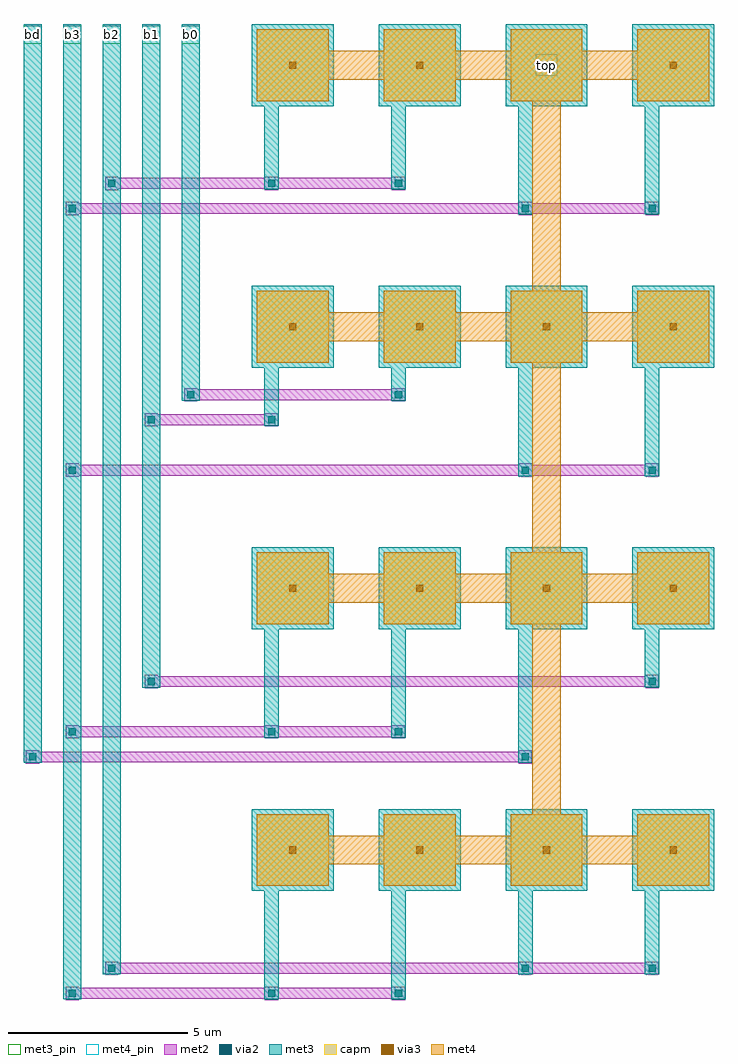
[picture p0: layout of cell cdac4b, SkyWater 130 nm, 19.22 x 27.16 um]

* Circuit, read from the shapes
.subckt cdac4b b0 b1 b2 b3 bd top
XC1 top b3 sky130_fd_pr__cap_mim_m3_1 w=2 l=2 m=8
XC2 top b1 sky130_fd_pr__cap_mim_m3_1 w=2 l=2 m=2
XC3 top b2 sky130_fd_pr__cap_mim_m3_1 w=2 l=2 m=4
XC4 top b0 sky130_fd_pr__cap_mim_m3_1 w=2 l=2
XC5 top bd sky130_fd_pr__cap_mim_m3_1 w=2 l=2
.ends

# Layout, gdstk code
import gdstk
lib = gdstk.Library(unit=1e-6, precision=5e-09)
def R(c, l, rs):  # rectangles x0, y0, x1, y1
    for r in rs: c.add(gdstk.rectangle(r[:2], r[2:], *l))
met2 = (69, 20)
via2 = (69, 44)
met3_pin = (70, 16)
met3 = (70, 20)
via3 = (70, 44)
met4_pin = (71, 16)
met4 = (71, 20)
capm = (89, 44)

unnamed_08364eda = lib.new_cell('Unnamed_08364eda')
R(unnamed_08364eda, met3, [(-1.14,-1.14,1.14,1.14)])
R(unnamed_08364eda, via3, [(-0.1,-0.1,0.1,0.1)])
R(unnamed_08364eda, met4, [(-1,-1,1,1), (-0.17,-0.17,0.17,0.17)])
R(unnamed_08364eda, capm, [(-1,-1,1,1)])

compass_b19a7299 = lib.new_cell('compass_b19a7299')
R(compass_b19a7299, met4, [(-5.695,-0.4,5.695,0.4)])

rectangle_b19a7299 = lib.new_cell('rectangle_b19a7299')
rectangle_b19a7299.add(gdstk.Reference(compass_b19a7299, (5.695,0.4)))

compass_b19a7299_1 = lib.new_cell('compass_b19a7299$1')
R(compass_b19a7299_1, met4, [(-5.695,-0.4,5.695,0.4)])

rectangle_b19a7299_1 = lib.new_cell('rectangle_b19a7299$1')
rectangle_b19a7299_1.add(gdstk.Reference(compass_b19a7299_1, (5.695,0.4)))

compass_b19a7299_2 = lib.new_cell('compass_b19a7299$2')
R(compass_b19a7299_2, met4, [(-5.695,-0.4,5.695,0.4)])

rectangle_b19a7299_2 = lib.new_cell('rectangle_b19a7299$2')
rectangle_b19a7299_2.add(gdstk.Reference(compass_b19a7299_2, (5.695,0.4)))

compass_b19a7299_3 = lib.new_cell('compass_b19a7299$3')
R(compass_b19a7299_3, met4, [(-5.695,-0.4,5.695,0.4)])

rectangle_b19a7299_3 = lib.new_cell('rectangle_b19a7299$3')
rectangle_b19a7299_3.add(gdstk.Reference(compass_b19a7299_3, (5.695,0.4)))

compass_d8e93c01 = lib.new_cell('compass_d8e93c01')
R(compass_d8e93c01, met4, [(-0.4,-10.92,0.4,10.92)])

rectangle_d8e93c01 = lib.new_cell('rectangle_d8e93c01')
rectangle_d8e93c01.add(gdstk.Reference(compass_d8e93c01, (0.4,10.92)))

compass_10b1ff6f = lib.new_cell('compass_10b1ff6f')
R(compass_10b1ff6f, met3, [(-0.2,-1.31,0.2,1.31)])

rectangle_10b1ff6f = lib.new_cell('rectangle_10b1ff6f')
rectangle_10b1ff6f.add(gdstk.Reference(compass_10b1ff6f, (0.2,1.31)))

compass_579e3138 = lib.new_cell('compass_579e3138')
R(compass_579e3138, met2, [(-0.185,-0.185,0.185,0.185)])

rectangle_579e3138 = lib.new_cell('rectangle_579e3138')
rectangle_579e3138.add(gdstk.Reference(compass_579e3138, (0.185,0.185)))

compass_9c38dde3 = lib.new_cell('compass_9c38dde3')
R(compass_9c38dde3, via2, [(-0.1,-0.1,0.1,0.1)])

rectangle_9c38dde3 = lib.new_cell('rectangle_9c38dde3')
rectangle_9c38dde3.add(gdstk.Reference(compass_9c38dde3, (0.1,0.1)))

compass_fef19139 = lib.new_cell('compass_fef19139')
R(compass_fef19139, met3, [(-0.165,-0.165,0.165,0.165)])

rectangle_fef19139 = lib.new_cell('rectangle_fef19139')
rectangle_fef19139.add(gdstk.Reference(compass_fef19139, (0.165,0.165)))

compass_10b1ff6f_1 = lib.new_cell('compass_10b1ff6f$1')
R(compass_10b1ff6f_1, met3, [(-0.2,-1.31,0.2,1.31)])

rectangle_10b1ff6f_1 = lib.new_cell('rectangle_10b1ff6f$1')
rectangle_10b1ff6f_1.add(gdstk.Reference(compass_10b1ff6f_1, (0.2,1.31)))

compass_579e3138_1 = lib.new_cell('compass_579e3138$1')
R(compass_579e3138_1, met2, [(-0.185,-0.185,0.185,0.185)])

rectangle_579e3138_1 = lib.new_cell('rectangle_579e3138$1')
rectangle_579e3138_1.add(gdstk.Reference(compass_579e3138_1, (0.185,0.185)))

compass_9c38dde3_1 = lib.new_cell('compass_9c38dde3$1')
R(compass_9c38dde3_1, via2, [(-0.1,-0.1,0.1,0.1)])

rectangle_9c38dde3_1 = lib.new_cell('rectangle_9c38dde3$1')
rectangle_9c38dde3_1.add(gdstk.Reference(compass_9c38dde3_1, (0.1,0.1)))

compass_fef19139_1 = lib.new_cell('compass_fef19139$1')
R(compass_fef19139_1, met3, [(-0.165,-0.165,0.165,0.165)])

rectangle_fef19139_1 = lib.new_cell('rectangle_fef19139$1')
rectangle_fef19139_1.add(gdstk.Reference(compass_fef19139_1, (0.165,0.165)))

compass_9983c23f = lib.new_cell('compass_9983c23f')
R(compass_9983c23f, met3, [(-0.2,-1.66,0.2,1.66)])

rectangle_9983c23f = lib.new_cell('rectangle_9983c23f')
rectangle_9983c23f.add(gdstk.Reference(compass_9983c23f, (0.2,1.66)))

compass_579e3138_2 = lib.new_cell('compass_579e3138$2')
R(compass_579e3138_2, met2, [(-0.185,-0.185,0.185,0.185)])

rectangle_579e3138_2 = lib.new_cell('rectangle_579e3138$2')
rectangle_579e3138_2.add(gdstk.Reference(compass_579e3138_2, (0.185,0.185)))

compass_9c38dde3_2 = lib.new_cell('compass_9c38dde3$2')
R(compass_9c38dde3_2, via2, [(-0.1,-0.1,0.1,0.1)])

rectangle_9c38dde3_2 = lib.new_cell('rectangle_9c38dde3$2')
rectangle_9c38dde3_2.add(gdstk.Reference(compass_9c38dde3_2, (0.1,0.1)))

compass_fef19139_2 = lib.new_cell('compass_fef19139$2')
R(compass_fef19139_2, met3, [(-0.165,-0.165,0.165,0.165)])

rectangle_fef19139_2 = lib.new_cell('rectangle_fef19139$2')
rectangle_fef19139_2.add(gdstk.Reference(compass_fef19139_2, (0.165,0.165)))

compass_9983c23f_1 = lib.new_cell('compass_9983c23f$1')
R(compass_9983c23f_1, met3, [(-0.2,-1.66,0.2,1.66)])

rectangle_9983c23f_1 = lib.new_cell('rectangle_9983c23f$1')
rectangle_9983c23f_1.add(gdstk.Reference(compass_9983c23f_1, (0.2,1.66)))

compass_579e3138_3 = lib.new_cell('compass_579e3138$3')
R(compass_579e3138_3, met2, [(-0.185,-0.185,0.185,0.185)])

rectangle_579e3138_3 = lib.new_cell('rectangle_579e3138$3')
rectangle_579e3138_3.add(gdstk.Reference(compass_579e3138_3, (0.185,0.185)))

compass_9c38dde3_3 = lib.new_cell('compass_9c38dde3$3')
R(compass_9c38dde3_3, via2, [(-0.1,-0.1,0.1,0.1)])

rectangle_9c38dde3_3 = lib.new_cell('rectangle_9c38dde3$3')
rectangle_9c38dde3_3.add(gdstk.Reference(compass_9c38dde3_3, (0.1,0.1)))

compass_fef19139_3 = lib.new_cell('compass_fef19139$3')
R(compass_fef19139_3, met3, [(-0.165,-0.165,0.165,0.165)])

rectangle_fef19139_3 = lib.new_cell('rectangle_fef19139$3')
rectangle_fef19139_3.add(gdstk.Reference(compass_fef19139_3, (0.165,0.165)))

compass_b9bef868 = lib.new_cell('compass_b9bef868')
R(compass_b9bef868, met2, [(-4.175,-0.15,4.175,0.15)])

rectangle_b9bef868 = lib.new_cell('rectangle_b9bef868')
rectangle_b9bef868.add(gdstk.Reference(compass_b9bef868, (4.175,0.15)))

compass_579e3138_4 = lib.new_cell('compass_579e3138$4')
R(compass_579e3138_4, met2, [(-0.185,-0.185,0.185,0.185)])

rectangle_579e3138_4 = lib.new_cell('rectangle_579e3138$4')
rectangle_579e3138_4.add(gdstk.Reference(compass_579e3138_4, (0.185,0.185)))

compass_9c38dde3_4 = lib.new_cell('compass_9c38dde3$4')
R(compass_9c38dde3_4, via2, [(-0.1,-0.1,0.1,0.1)])

rectangle_9c38dde3_4 = lib.new_cell('rectangle_9c38dde3$4')
rectangle_9c38dde3_4.add(gdstk.Reference(compass_9c38dde3_4, (0.1,0.1)))

compass_fef19139_4 = lib.new_cell('compass_fef19139$4')
R(compass_fef19139_4, met3, [(-0.165,-0.165,0.165,0.165)])

rectangle_fef19139_4 = lib.new_cell('rectangle_fef19139$4')
rectangle_fef19139_4.add(gdstk.Reference(compass_fef19139_4, (0.165,0.165)))

compass_f21ddb63 = lib.new_cell('compass_f21ddb63')
R(compass_f21ddb63, met2, [(-8.255,-0.15,8.255,0.15)])

rectangle_f21ddb63 = lib.new_cell('rectangle_f21ddb63')
rectangle_f21ddb63.add(gdstk.Reference(compass_f21ddb63, (8.255,0.15)))

compass_579e3138_5 = lib.new_cell('compass_579e3138$5')
R(compass_579e3138_5, met2, [(-0.185,-0.185,0.185,0.185)])

rectangle_579e3138_5 = lib.new_cell('rectangle_579e3138$5')
rectangle_579e3138_5.add(gdstk.Reference(compass_579e3138_5, (0.185,0.185)))

compass_9c38dde3_5 = lib.new_cell('compass_9c38dde3$5')
R(compass_9c38dde3_5, via2, [(-0.1,-0.1,0.1,0.1)])

rectangle_9c38dde3_5 = lib.new_cell('rectangle_9c38dde3$5')
rectangle_9c38dde3_5.add(gdstk.Reference(compass_9c38dde3_5, (0.1,0.1)))

compass_fef19139_5 = lib.new_cell('compass_fef19139$5')
R(compass_fef19139_5, met3, [(-0.165,-0.165,0.165,0.165)])

rectangle_fef19139_5 = lib.new_cell('rectangle_fef19139$5')
rectangle_fef19139_5.add(gdstk.Reference(compass_fef19139_5, (0.165,0.165)))

compass_67806b96 = lib.new_cell('compass_67806b96')
R(compass_67806b96, met3, [(-0.2,-0.96,0.2,0.96)])

rectangle_67806b96 = lib.new_cell('rectangle_67806b96')
rectangle_67806b96.add(gdstk.Reference(compass_67806b96, (0.2,0.96)))

compass_579e3138_6 = lib.new_cell('compass_579e3138$6')
R(compass_579e3138_6, met2, [(-0.185,-0.185,0.185,0.185)])

rectangle_579e3138_6 = lib.new_cell('rectangle_579e3138$6')
rectangle_579e3138_6.add(gdstk.Reference(compass_579e3138_6, (0.185,0.185)))

compass_9c38dde3_6 = lib.new_cell('compass_9c38dde3$6')
R(compass_9c38dde3_6, via2, [(-0.1,-0.1,0.1,0.1)])

rectangle_9c38dde3_6 = lib.new_cell('rectangle_9c38dde3$6')
rectangle_9c38dde3_6.add(gdstk.Reference(compass_9c38dde3_6, (0.1,0.1)))

compass_fef19139_6 = lib.new_cell('compass_fef19139$6')
R(compass_fef19139_6, met3, [(-0.165,-0.165,0.165,0.165)])

rectangle_fef19139_6 = lib.new_cell('rectangle_fef19139$6')
rectangle_fef19139_6.add(gdstk.Reference(compass_fef19139_6, (0.165,0.165)))

compass_9c38c842 = lib.new_cell('compass_9c38c842')
R(compass_9c38c842, met3, [(-0.2,-0.61,0.2,0.61)])

rectangle_9c38c842 = lib.new_cell('rectangle_9c38c842')
rectangle_9c38c842.add(gdstk.Reference(compass_9c38c842, (0.2,0.61)))

compass_579e3138_7 = lib.new_cell('compass_579e3138$7')
R(compass_579e3138_7, met2, [(-0.185,-0.185,0.185,0.185)])

rectangle_579e3138_7 = lib.new_cell('rectangle_579e3138$7')
rectangle_579e3138_7.add(gdstk.Reference(compass_579e3138_7, (0.185,0.185)))

compass_9c38dde3_7 = lib.new_cell('compass_9c38dde3$7')
R(compass_9c38dde3_7, via2, [(-0.1,-0.1,0.1,0.1)])

rectangle_9c38dde3_7 = lib.new_cell('rectangle_9c38dde3$7')
rectangle_9c38dde3_7.add(gdstk.Reference(compass_9c38dde3_7, (0.1,0.1)))

compass_fef19139_7 = lib.new_cell('compass_fef19139$7')
R(compass_fef19139_7, met3, [(-0.165,-0.165,0.165,0.165)])

rectangle_fef19139_7 = lib.new_cell('rectangle_fef19139$7')
rectangle_fef19139_7.add(gdstk.Reference(compass_fef19139_7, (0.165,0.165)))

compass_9983c23f_2 = lib.new_cell('compass_9983c23f$2')
R(compass_9983c23f_2, met3, [(-0.2,-1.66,0.2,1.66)])

rectangle_9983c23f_2 = lib.new_cell('rectangle_9983c23f$2')
rectangle_9983c23f_2.add(gdstk.Reference(compass_9983c23f_2, (0.2,1.66)))

compass_579e3138_8 = lib.new_cell('compass_579e3138$8')
R(compass_579e3138_8, met2, [(-0.185,-0.185,0.185,0.185)])

rectangle_579e3138_8 = lib.new_cell('rectangle_579e3138$8')
rectangle_579e3138_8.add(gdstk.Reference(compass_579e3138_8, (0.185,0.185)))

compass_9c38dde3_8 = lib.new_cell('compass_9c38dde3$8')
R(compass_9c38dde3_8, via2, [(-0.1,-0.1,0.1,0.1)])

rectangle_9c38dde3_8 = lib.new_cell('rectangle_9c38dde3$8')
rectangle_9c38dde3_8.add(gdstk.Reference(compass_9c38dde3_8, (0.1,0.1)))

compass_fef19139_8 = lib.new_cell('compass_fef19139$8')
R(compass_fef19139_8, met3, [(-0.165,-0.165,0.165,0.165)])

rectangle_fef19139_8 = lib.new_cell('rectangle_fef19139$8')
rectangle_fef19139_8.add(gdstk.Reference(compass_fef19139_8, (0.165,0.165)))

compass_9983c23f_3 = lib.new_cell('compass_9983c23f$3')
R(compass_9983c23f_3, met3, [(-0.2,-1.66,0.2,1.66)])

rectangle_9983c23f_3 = lib.new_cell('rectangle_9983c23f$3')
rectangle_9983c23f_3.add(gdstk.Reference(compass_9983c23f_3, (0.2,1.66)))

compass_579e3138_9 = lib.new_cell('compass_579e3138$9')
R(compass_579e3138_9, met2, [(-0.185,-0.185,0.185,0.185)])

rectangle_579e3138_9 = lib.new_cell('rectangle_579e3138$9')
rectangle_579e3138_9.add(gdstk.Reference(compass_579e3138_9, (0.185,0.185)))

compass_9c38dde3_9 = lib.new_cell('compass_9c38dde3$9')
R(compass_9c38dde3_9, via2, [(-0.1,-0.1,0.1,0.1)])

rectangle_9c38dde3_9 = lib.new_cell('rectangle_9c38dde3$9')
rectangle_9c38dde3_9.add(gdstk.Reference(compass_9c38dde3_9, (0.1,0.1)))

compass_fef19139_9 = lib.new_cell('compass_fef19139$9')
R(compass_fef19139_9, met3, [(-0.165,-0.165,0.165,0.165)])

rectangle_fef19139_9 = lib.new_cell('rectangle_fef19139$9')
rectangle_fef19139_9.add(gdstk.Reference(compass_fef19139_9, (0.165,0.165)))

compass_7cf3fad9 = lib.new_cell('compass_7cf3fad9')
R(compass_7cf3fad9, met2, [(-1.86,-0.15,1.86,0.15)])

rectangle_7cf3fad9 = lib.new_cell('rectangle_7cf3fad9')
rectangle_7cf3fad9.add(gdstk.Reference(compass_7cf3fad9, (1.86,0.15)))

compass_579e3138_10 = lib.new_cell('compass_579e3138$10')
R(compass_579e3138_10, met2, [(-0.185,-0.185,0.185,0.185)])

rectangle_579e3138_10 = lib.new_cell('rectangle_579e3138$10')
rectangle_579e3138_10.add(gdstk.Reference(compass_579e3138_10, (0.185,0.185)))

compass_9c38dde3_10 = lib.new_cell('compass_9c38dde3$10')
R(compass_9c38dde3_10, via2, [(-0.1,-0.1,0.1,0.1)])

rectangle_9c38dde3_10 = lib.new_cell('rectangle_9c38dde3$10')
rectangle_9c38dde3_10.add(gdstk.Reference(compass_9c38dde3_10, (0.1,0.1)))

compass_fef19139_10 = lib.new_cell('compass_fef19139$10')
R(compass_fef19139_10, met3, [(-0.165,-0.165,0.165,0.165)])

rectangle_fef19139_10 = lib.new_cell('rectangle_fef19139$10')
rectangle_fef19139_10.add(gdstk.Reference(compass_fef19139_10, (0.165,0.165)))

compass_b59f99c3 = lib.new_cell('compass_b59f99c3')
R(compass_b59f99c3, met2, [(-3.075,-0.15,3.075,0.15)])

rectangle_b59f99c3 = lib.new_cell('rectangle_b59f99c3')
rectangle_b59f99c3.add(gdstk.Reference(compass_b59f99c3, (3.075,0.15)))

compass_579e3138_11 = lib.new_cell('compass_579e3138$11')
R(compass_579e3138_11, met2, [(-0.185,-0.185,0.185,0.185)])

rectangle_579e3138_11 = lib.new_cell('rectangle_579e3138$11')
rectangle_579e3138_11.add(gdstk.Reference(compass_579e3138_11, (0.185,0.185)))

compass_9c38dde3_11 = lib.new_cell('compass_9c38dde3$11')
R(compass_9c38dde3_11, via2, [(-0.1,-0.1,0.1,0.1)])

rectangle_9c38dde3_11 = lib.new_cell('rectangle_9c38dde3$11')
rectangle_9c38dde3_11.add(gdstk.Reference(compass_9c38dde3_11, (0.1,0.1)))

compass_fef19139_11 = lib.new_cell('compass_fef19139$11')
R(compass_fef19139_11, met3, [(-0.165,-0.165,0.165,0.165)])

rectangle_fef19139_11 = lib.new_cell('rectangle_fef19139$11')
rectangle_fef19139_11.add(gdstk.Reference(compass_fef19139_11, (0.165,0.165)))

compass_f21ddb63_1 = lib.new_cell('compass_f21ddb63$1')
R(compass_f21ddb63_1, met2, [(-8.255,-0.15,8.255,0.15)])

rectangle_f21ddb63_1 = lib.new_cell('rectangle_f21ddb63$1')
rectangle_f21ddb63_1.add(gdstk.Reference(compass_f21ddb63_1, (8.255,0.15)))

compass_579e3138_12 = lib.new_cell('compass_579e3138$12')
R(compass_579e3138_12, met2, [(-0.185,-0.185,0.185,0.185)])

rectangle_579e3138_12 = lib.new_cell('rectangle_579e3138$12')
rectangle_579e3138_12.add(gdstk.Reference(compass_579e3138_12, (0.185,0.185)))

compass_9c38dde3_12 = lib.new_cell('compass_9c38dde3$12')
R(compass_9c38dde3_12, via2, [(-0.1,-0.1,0.1,0.1)])

rectangle_9c38dde3_12 = lib.new_cell('rectangle_9c38dde3$12')
rectangle_9c38dde3_12.add(gdstk.Reference(compass_9c38dde3_12, (0.1,0.1)))

compass_fef19139_12 = lib.new_cell('compass_fef19139$12')
R(compass_fef19139_12, met3, [(-0.165,-0.165,0.165,0.165)])

rectangle_fef19139_12 = lib.new_cell('rectangle_fef19139$12')
rectangle_fef19139_12.add(gdstk.Reference(compass_fef19139_12, (0.165,0.165)))

compass_9983c23f_4 = lib.new_cell('compass_9983c23f$4')
R(compass_9983c23f_4, met3, [(-0.2,-1.66,0.2,1.66)])

rectangle_9983c23f_4 = lib.new_cell('rectangle_9983c23f$4')
rectangle_9983c23f_4.add(gdstk.Reference(compass_9983c23f_4, (0.2,1.66)))

compass_579e3138_13 = lib.new_cell('compass_579e3138$13')
R(compass_579e3138_13, met2, [(-0.185,-0.185,0.185,0.185)])

rectangle_579e3138_13 = lib.new_cell('rectangle_579e3138$13')
rectangle_579e3138_13.add(gdstk.Reference(compass_579e3138_13, (0.185,0.185)))

compass_9c38dde3_13 = lib.new_cell('compass_9c38dde3$13')
R(compass_9c38dde3_13, via2, [(-0.1,-0.1,0.1,0.1)])

rectangle_9c38dde3_13 = lib.new_cell('rectangle_9c38dde3$13')
rectangle_9c38dde3_13.add(gdstk.Reference(compass_9c38dde3_13, (0.1,0.1)))

compass_fef19139_13 = lib.new_cell('compass_fef19139$13')
R(compass_fef19139_13, met3, [(-0.165,-0.165,0.165,0.165)])

rectangle_fef19139_13 = lib.new_cell('rectangle_fef19139$13')
rectangle_fef19139_13.add(gdstk.Reference(compass_fef19139_13, (0.165,0.165)))

compass_9983c23f_5 = lib.new_cell('compass_9983c23f$5')
R(compass_9983c23f_5, met3, [(-0.2,-1.66,0.2,1.66)])

rectangle_9983c23f_5 = lib.new_cell('rectangle_9983c23f$5')
rectangle_9983c23f_5.add(gdstk.Reference(compass_9983c23f_5, (0.2,1.66)))

compass_579e3138_14 = lib.new_cell('compass_579e3138$14')
R(compass_579e3138_14, met2, [(-0.185,-0.185,0.185,0.185)])

rectangle_579e3138_14 = lib.new_cell('rectangle_579e3138$14')
rectangle_579e3138_14.add(gdstk.Reference(compass_579e3138_14, (0.185,0.185)))

compass_9c38dde3_14 = lib.new_cell('compass_9c38dde3$14')
R(compass_9c38dde3_14, via2, [(-0.1,-0.1,0.1,0.1)])

rectangle_9c38dde3_14 = lib.new_cell('rectangle_9c38dde3$14')
rectangle_9c38dde3_14.add(gdstk.Reference(compass_9c38dde3_14, (0.1,0.1)))

compass_fef19139_14 = lib.new_cell('compass_fef19139$14')
R(compass_fef19139_14, met3, [(-0.165,-0.165,0.165,0.165)])

rectangle_fef19139_14 = lib.new_cell('rectangle_fef19139$14')
rectangle_fef19139_14.add(gdstk.Reference(compass_fef19139_14, (0.165,0.165)))

compass_0e086c3e = lib.new_cell('compass_0e086c3e')
R(compass_0e086c3e, met3, [(-0.2,-2.005,0.2,2.005)])

rectangle_0e086c3e = lib.new_cell('rectangle_0e086c3e')
rectangle_0e086c3e.add(gdstk.Reference(compass_0e086c3e, (0.2,2.005)))

compass_579e3138_15 = lib.new_cell('compass_579e3138$15')
R(compass_579e3138_15, met2, [(-0.185,-0.185,0.185,0.185)])

rectangle_579e3138_15 = lib.new_cell('rectangle_579e3138$15')
rectangle_579e3138_15.add(gdstk.Reference(compass_579e3138_15, (0.185,0.185)))

compass_9c38dde3_15 = lib.new_cell('compass_9c38dde3$15')
R(compass_9c38dde3_15, via2, [(-0.1,-0.1,0.1,0.1)])

rectangle_9c38dde3_15 = lib.new_cell('rectangle_9c38dde3$15')
rectangle_9c38dde3_15.add(gdstk.Reference(compass_9c38dde3_15, (0.1,0.1)))

compass_fef19139_15 = lib.new_cell('compass_fef19139$15')
R(compass_fef19139_15, met3, [(-0.165,-0.165,0.165,0.165)])

rectangle_fef19139_15 = lib.new_cell('rectangle_fef19139$15')
rectangle_fef19139_15.add(gdstk.Reference(compass_fef19139_15, (0.165,0.165)))

compass_67806b96_1 = lib.new_cell('compass_67806b96$1')
R(compass_67806b96_1, met3, [(-0.2,-0.96,0.2,0.96)])

rectangle_67806b96_1 = lib.new_cell('rectangle_67806b96$1')
rectangle_67806b96_1.add(gdstk.Reference(compass_67806b96_1, (0.2,0.96)))

compass_579e3138_16 = lib.new_cell('compass_579e3138$16')
R(compass_579e3138_16, met2, [(-0.185,-0.185,0.185,0.185)])

rectangle_579e3138_16 = lib.new_cell('rectangle_579e3138$16')
rectangle_579e3138_16.add(gdstk.Reference(compass_579e3138_16, (0.185,0.185)))

compass_9c38dde3_16 = lib.new_cell('compass_9c38dde3$16')
R(compass_9c38dde3_16, via2, [(-0.1,-0.1,0.1,0.1)])

rectangle_9c38dde3_16 = lib.new_cell('rectangle_9c38dde3$16')
rectangle_9c38dde3_16.add(gdstk.Reference(compass_9c38dde3_16, (0.1,0.1)))

compass_fef19139_16 = lib.new_cell('compass_fef19139$16')
R(compass_fef19139_16, met3, [(-0.165,-0.165,0.165,0.165)])

rectangle_fef19139_16 = lib.new_cell('rectangle_fef19139$16')
rectangle_fef19139_16.add(gdstk.Reference(compass_fef19139_16, (0.165,0.165)))

compass_ff503b3a = lib.new_cell('compass_ff503b3a')
R(compass_ff503b3a, met2, [(-4.725,-0.15,4.725,0.15)])

rectangle_ff503b3a = lib.new_cell('rectangle_ff503b3a')
rectangle_ff503b3a.add(gdstk.Reference(compass_ff503b3a, (4.725,0.15)))

compass_579e3138_17 = lib.new_cell('compass_579e3138$17')
R(compass_579e3138_17, met2, [(-0.185,-0.185,0.185,0.185)])

rectangle_579e3138_17 = lib.new_cell('rectangle_579e3138$17')
rectangle_579e3138_17.add(gdstk.Reference(compass_579e3138_17, (0.185,0.185)))

compass_9c38dde3_17 = lib.new_cell('compass_9c38dde3$17')
R(compass_9c38dde3_17, via2, [(-0.1,-0.1,0.1,0.1)])

rectangle_9c38dde3_17 = lib.new_cell('rectangle_9c38dde3$17')
rectangle_9c38dde3_17.add(gdstk.Reference(compass_9c38dde3_17, (0.1,0.1)))

compass_fef19139_17 = lib.new_cell('compass_fef19139$17')
R(compass_fef19139_17, met3, [(-0.165,-0.165,0.165,0.165)])

rectangle_fef19139_17 = lib.new_cell('rectangle_fef19139$17')
rectangle_fef19139_17.add(gdstk.Reference(compass_fef19139_17, (0.165,0.165)))

compass_a5df8f57 = lib.new_cell('compass_a5df8f57')
R(compass_a5df8f57, met2, [(-7.04,-0.15,7.04,0.15)])

rectangle_a5df8f57 = lib.new_cell('rectangle_a5df8f57')
rectangle_a5df8f57.add(gdstk.Reference(compass_a5df8f57, (7.04,0.15)))

compass_579e3138_18 = lib.new_cell('compass_579e3138$18')
R(compass_579e3138_18, met2, [(-0.185,-0.185,0.185,0.185)])

rectangle_579e3138_18 = lib.new_cell('rectangle_579e3138$18')
rectangle_579e3138_18.add(gdstk.Reference(compass_579e3138_18, (0.185,0.185)))

compass_9c38dde3_18 = lib.new_cell('compass_9c38dde3$18')
R(compass_9c38dde3_18, via2, [(-0.1,-0.1,0.1,0.1)])

rectangle_9c38dde3_18 = lib.new_cell('rectangle_9c38dde3$18')
rectangle_9c38dde3_18.add(gdstk.Reference(compass_9c38dde3_18, (0.1,0.1)))

compass_fef19139_18 = lib.new_cell('compass_fef19139$18')
R(compass_fef19139_18, met3, [(-0.165,-0.165,0.165,0.165)])

rectangle_fef19139_18 = lib.new_cell('rectangle_fef19139$18')
rectangle_fef19139_18.add(gdstk.Reference(compass_fef19139_18, (0.165,0.165)))

compass_068a5a5e = lib.new_cell('compass_068a5a5e')
R(compass_068a5a5e, met2, [(-7.155,-0.15,7.155,0.15)])

rectangle_068a5a5e = lib.new_cell('rectangle_068a5a5e')
rectangle_068a5a5e.add(gdstk.Reference(compass_068a5a5e, (7.155,0.15)))

compass_579e3138_19 = lib.new_cell('compass_579e3138$19')
R(compass_579e3138_19, met2, [(-0.185,-0.185,0.185,0.185)])

rectangle_579e3138_19 = lib.new_cell('rectangle_579e3138$19')
rectangle_579e3138_19.add(gdstk.Reference(compass_579e3138_19, (0.185,0.185)))

compass_9c38dde3_19 = lib.new_cell('compass_9c38dde3$19')
R(compass_9c38dde3_19, via2, [(-0.1,-0.1,0.1,0.1)])

rectangle_9c38dde3_19 = lib.new_cell('rectangle_9c38dde3$19')
rectangle_9c38dde3_19.add(gdstk.Reference(compass_9c38dde3_19, (0.1,0.1)))

compass_fef19139_19 = lib.new_cell('compass_fef19139$19')
R(compass_fef19139_19, met3, [(-0.165,-0.165,0.165,0.165)])

rectangle_fef19139_19 = lib.new_cell('rectangle_fef19139$19')
rectangle_fef19139_19.add(gdstk.Reference(compass_fef19139_19, (0.165,0.165)))

compass_9983c23f_6 = lib.new_cell('compass_9983c23f$6')
R(compass_9983c23f_6, met3, [(-0.2,-1.66,0.2,1.66)])

rectangle_9983c23f_6 = lib.new_cell('rectangle_9983c23f$6')
rectangle_9983c23f_6.add(gdstk.Reference(compass_9983c23f_6, (0.2,1.66)))

compass_579e3138_20 = lib.new_cell('compass_579e3138$20')
R(compass_579e3138_20, met2, [(-0.185,-0.185,0.185,0.185)])

rectangle_579e3138_20 = lib.new_cell('rectangle_579e3138$20')
rectangle_579e3138_20.add(gdstk.Reference(compass_579e3138_20, (0.185,0.185)))

compass_9c38dde3_20 = lib.new_cell('compass_9c38dde3$20')
R(compass_9c38dde3_20, via2, [(-0.1,-0.1,0.1,0.1)])

rectangle_9c38dde3_20 = lib.new_cell('rectangle_9c38dde3$20')
rectangle_9c38dde3_20.add(gdstk.Reference(compass_9c38dde3_20, (0.1,0.1)))

compass_fef19139_20 = lib.new_cell('compass_fef19139$20')
R(compass_fef19139_20, met3, [(-0.165,-0.165,0.165,0.165)])

rectangle_fef19139_20 = lib.new_cell('rectangle_fef19139$20')
rectangle_fef19139_20.add(gdstk.Reference(compass_fef19139_20, (0.165,0.165)))

compass_9983c23f_7 = lib.new_cell('compass_9983c23f$7')
R(compass_9983c23f_7, met3, [(-0.2,-1.66,0.2,1.66)])

rectangle_9983c23f_7 = lib.new_cell('rectangle_9983c23f$7')
rectangle_9983c23f_7.add(gdstk.Reference(compass_9983c23f_7, (0.2,1.66)))

compass_579e3138_21 = lib.new_cell('compass_579e3138$21')
R(compass_579e3138_21, met2, [(-0.185,-0.185,0.185,0.185)])

rectangle_579e3138_21 = lib.new_cell('rectangle_579e3138$21')
rectangle_579e3138_21.add(gdstk.Reference(compass_579e3138_21, (0.185,0.185)))

compass_9c38dde3_21 = lib.new_cell('compass_9c38dde3$21')
R(compass_9c38dde3_21, via2, [(-0.1,-0.1,0.1,0.1)])

rectangle_9c38dde3_21 = lib.new_cell('rectangle_9c38dde3$21')
rectangle_9c38dde3_21.add(gdstk.Reference(compass_9c38dde3_21, (0.1,0.1)))

compass_fef19139_21 = lib.new_cell('compass_fef19139$21')
R(compass_fef19139_21, met3, [(-0.165,-0.165,0.165,0.165)])

rectangle_fef19139_21 = lib.new_cell('rectangle_fef19139$21')
rectangle_fef19139_21.add(gdstk.Reference(compass_fef19139_21, (0.165,0.165)))

compass_10b1ff6f_2 = lib.new_cell('compass_10b1ff6f$2')
R(compass_10b1ff6f_2, met3, [(-0.2,-1.31,0.2,1.31)])

rectangle_10b1ff6f_2 = lib.new_cell('rectangle_10b1ff6f$2')
rectangle_10b1ff6f_2.add(gdstk.Reference(compass_10b1ff6f_2, (0.2,1.31)))

compass_579e3138_22 = lib.new_cell('compass_579e3138$22')
R(compass_579e3138_22, met2, [(-0.185,-0.185,0.185,0.185)])

rectangle_579e3138_22 = lib.new_cell('rectangle_579e3138$22')
rectangle_579e3138_22.add(gdstk.Reference(compass_579e3138_22, (0.185,0.185)))

compass_9c38dde3_22 = lib.new_cell('compass_9c38dde3$22')
R(compass_9c38dde3_22, via2, [(-0.1,-0.1,0.1,0.1)])

rectangle_9c38dde3_22 = lib.new_cell('rectangle_9c38dde3$22')
rectangle_9c38dde3_22.add(gdstk.Reference(compass_9c38dde3_22, (0.1,0.1)))

compass_fef19139_22 = lib.new_cell('compass_fef19139$22')
R(compass_fef19139_22, met3, [(-0.165,-0.165,0.165,0.165)])

rectangle_fef19139_22 = lib.new_cell('rectangle_fef19139$22')
rectangle_fef19139_22.add(gdstk.Reference(compass_fef19139_22, (0.165,0.165)))

compass_10b1ff6f_3 = lib.new_cell('compass_10b1ff6f$3')
R(compass_10b1ff6f_3, met3, [(-0.2,-1.31,0.2,1.31)])

rectangle_10b1ff6f_3 = lib.new_cell('rectangle_10b1ff6f$3')
rectangle_10b1ff6f_3.add(gdstk.Reference(compass_10b1ff6f_3, (0.2,1.31)))

compass_579e3138_23 = lib.new_cell('compass_579e3138$23')
R(compass_579e3138_23, met2, [(-0.185,-0.185,0.185,0.185)])

rectangle_579e3138_23 = lib.new_cell('rectangle_579e3138$23')
rectangle_579e3138_23.add(gdstk.Reference(compass_579e3138_23, (0.185,0.185)))

compass_9c38dde3_23 = lib.new_cell('compass_9c38dde3$23')
R(compass_9c38dde3_23, via2, [(-0.1,-0.1,0.1,0.1)])

rectangle_9c38dde3_23 = lib.new_cell('rectangle_9c38dde3$23')
rectangle_9c38dde3_23.add(gdstk.Reference(compass_9c38dde3_23, (0.1,0.1)))

compass_fef19139_23 = lib.new_cell('compass_fef19139$23')
R(compass_fef19139_23, met3, [(-0.165,-0.165,0.165,0.165)])

rectangle_fef19139_23 = lib.new_cell('rectangle_fef19139$23')
rectangle_fef19139_23.add(gdstk.Reference(compass_fef19139_23, (0.165,0.165)))

compass_ff503b3a_1 = lib.new_cell('compass_ff503b3a$1')
R(compass_ff503b3a_1, met2, [(-4.725,-0.15,4.725,0.15)])

rectangle_ff503b3a_1 = lib.new_cell('rectangle_ff503b3a$1')
rectangle_ff503b3a_1.add(gdstk.Reference(compass_ff503b3a_1, (4.725,0.15)))

compass_579e3138_24 = lib.new_cell('compass_579e3138$24')
R(compass_579e3138_24, met2, [(-0.185,-0.185,0.185,0.185)])

rectangle_579e3138_24 = lib.new_cell('rectangle_579e3138$24')
rectangle_579e3138_24.add(gdstk.Reference(compass_579e3138_24, (0.185,0.185)))

compass_9c38dde3_24 = lib.new_cell('compass_9c38dde3$24')
R(compass_9c38dde3_24, via2, [(-0.1,-0.1,0.1,0.1)])

rectangle_9c38dde3_24 = lib.new_cell('rectangle_9c38dde3$24')
rectangle_9c38dde3_24.add(gdstk.Reference(compass_9c38dde3_24, (0.1,0.1)))

compass_fef19139_24 = lib.new_cell('compass_fef19139$24')
R(compass_fef19139_24, met3, [(-0.165,-0.165,0.165,0.165)])

rectangle_fef19139_24 = lib.new_cell('rectangle_fef19139$24')
rectangle_fef19139_24.add(gdstk.Reference(compass_fef19139_24, (0.165,0.165)))

compass_560a4f5d = lib.new_cell('compass_560a4f5d')
R(compass_560a4f5d, met2, [(-7.705,-0.15,7.705,0.15)])

rectangle_560a4f5d = lib.new_cell('rectangle_560a4f5d')
rectangle_560a4f5d.add(gdstk.Reference(compass_560a4f5d, (7.705,0.15)))

compass_579e3138_25 = lib.new_cell('compass_579e3138$25')
R(compass_579e3138_25, met2, [(-0.185,-0.185,0.185,0.185)])

rectangle_579e3138_25 = lib.new_cell('rectangle_579e3138$25')
rectangle_579e3138_25.add(gdstk.Reference(compass_579e3138_25, (0.185,0.185)))

compass_9c38dde3_25 = lib.new_cell('compass_9c38dde3$25')
R(compass_9c38dde3_25, via2, [(-0.1,-0.1,0.1,0.1)])

rectangle_9c38dde3_25 = lib.new_cell('rectangle_9c38dde3$25')
rectangle_9c38dde3_25.add(gdstk.Reference(compass_9c38dde3_25, (0.1,0.1)))

compass_fef19139_25 = lib.new_cell('compass_fef19139$25')
R(compass_fef19139_25, met3, [(-0.165,-0.165,0.165,0.165)])

rectangle_fef19139_25 = lib.new_cell('rectangle_fef19139$25')
rectangle_fef19139_25.add(gdstk.Reference(compass_fef19139_25, (0.165,0.165)))

compass_e46d449f = lib.new_cell('compass_e46d449f')
R(compass_e46d449f, met3, [(-0.25,-13.22,0.25,13.22)])

rectangle_e46d449f = lib.new_cell('rectangle_e46d449f')
rectangle_e46d449f.add(gdstk.Reference(compass_e46d449f, (0.25,13.22)))

compass_3f075ad0 = lib.new_cell('compass_3f075ad0')
R(compass_3f075ad0, met3_pin, [(-0.25,-0.25,0.25,0.25)])

rectangle_3f075ad0 = lib.new_cell('rectangle_3f075ad0')
rectangle_3f075ad0.add(gdstk.Reference(compass_3f075ad0, (0.25,0.25)))

compass_1c83db0e = lib.new_cell('compass_1c83db0e')
R(compass_1c83db0e, met3, [(-0.25,-13.57,0.25,13.57)])

rectangle_1c83db0e = lib.new_cell('rectangle_1c83db0e')
rectangle_1c83db0e.add(gdstk.Reference(compass_1c83db0e, (0.25,13.57)))

compass_3f075ad0_1 = lib.new_cell('compass_3f075ad0$1')
R(compass_3f075ad0_1, met3_pin, [(-0.25,-0.25,0.25,0.25)])

rectangle_3f075ad0_1 = lib.new_cell('rectangle_3f075ad0$1')
rectangle_3f075ad0_1.add(gdstk.Reference(compass_3f075ad0_1, (0.25,0.25)))

compass_a20d28ec = lib.new_cell('compass_a20d28ec')
R(compass_a20d28ec, met3, [(-0.25,-9.23,0.25,9.23)])

rectangle_a20d28ec = lib.new_cell('rectangle_a20d28ec')
rectangle_a20d28ec.add(gdstk.Reference(compass_a20d28ec, (0.25,9.225)))

compass_3f075ad0_2 = lib.new_cell('compass_3f075ad0$2')
R(compass_3f075ad0_2, met3_pin, [(-0.25,-0.25,0.25,0.25)])

rectangle_3f075ad0_2 = lib.new_cell('rectangle_3f075ad0$2')
rectangle_3f075ad0_2.add(gdstk.Reference(compass_3f075ad0_2, (0.25,0.25)))

compass_f89a7715 = lib.new_cell('compass_f89a7715')
R(compass_f89a7715, met3, [(-0.25,-5.24,0.25,5.24)])

rectangle_f89a7715 = lib.new_cell('rectangle_f89a7715')
rectangle_f89a7715.add(gdstk.Reference(compass_f89a7715, (0.25,5.24)))

compass_3f075ad0_3 = lib.new_cell('compass_3f075ad0$3')
R(compass_3f075ad0_3, met3_pin, [(-0.25,-0.25,0.25,0.25)])

rectangle_3f075ad0_3 = lib.new_cell('rectangle_3f075ad0$3')
rectangle_3f075ad0_3.add(gdstk.Reference(compass_3f075ad0_3, (0.25,0.25)))

compass_7571271f = lib.new_cell('compass_7571271f')
R(compass_7571271f, met3, [(-0.25,-10.28,0.25,10.28)])

rectangle_7571271f = lib.new_cell('rectangle_7571271f')
rectangle_7571271f.add(gdstk.Reference(compass_7571271f, (0.25,10.28)))

compass_3f075ad0_4 = lib.new_cell('compass_3f075ad0$4')
R(compass_3f075ad0_4, met3_pin, [(-0.25,-0.25,0.25,0.25)])

rectangle_3f075ad0_4 = lib.new_cell('rectangle_3f075ad0$4')
rectangle_3f075ad0_4.add(gdstk.Reference(compass_3f075ad0_4, (0.25,0.25)))

compass_ecd82131 = lib.new_cell('compass_ecd82131')
R(compass_ecd82131, met4_pin, [(-0.3,-0.3,0.3,0.3)])

rectangle_ecd82131 = lib.new_cell('rectangle_ecd82131')
rectangle_ecd82131.add(gdstk.Reference(compass_ecd82131, (0.3,0.3)))

cdac4b = lib.new_cell('cdac4b')
cdac4b.add(gdstk.Reference(unnamed_08364eda, (0,0)))
cdac4b.add(gdstk.Reference(unnamed_08364eda, (3.53,0)))
cdac4b.add(gdstk.Reference(unnamed_08364eda, (7.06,0)))
cdac4b.add(gdstk.Reference(unnamed_08364eda, (10.59,0)))
cdac4b.add(gdstk.Reference(unnamed_08364eda, (0,-7.28)))
cdac4b.add(gdstk.Reference(unnamed_08364eda, (3.53,-7.28)))
cdac4b.add(gdstk.Reference(unnamed_08364eda, (7.06,-7.28)))
cdac4b.add(gdstk.Reference(unnamed_08364eda, (10.59,-7.28)))
cdac4b.add(gdstk.Reference(unnamed_08364eda, (0,-14.56)))
cdac4b.add(gdstk.Reference(unnamed_08364eda, (3.53,-14.56)))
cdac4b.add(gdstk.Reference(unnamed_08364eda, (7.06,-14.56)))
cdac4b.add(gdstk.Reference(unnamed_08364eda, (10.59,-14.56)))
cdac4b.add(gdstk.Reference(unnamed_08364eda, (0,-21.84)))
cdac4b.add(gdstk.Reference(unnamed_08364eda, (3.53,-21.84)))
cdac4b.add(gdstk.Reference(unnamed_08364eda, (7.06,-21.84)))
cdac4b.add(gdstk.Reference(unnamed_08364eda, (10.59,-21.84)))
cdac4b.add(gdstk.Reference(rectangle_b19a7299, (-0.4,-0.4)))
cdac4b.add(gdstk.Reference(rectangle_b19a7299_1, (-0.4,-7.68)))
cdac4b.add(gdstk.Reference(rectangle_b19a7299_2, (-0.4,-14.96)))
cdac4b.add(gdstk.Reference(rectangle_b19a7299_3, (-0.4,-22.24)))
cdac4b.add(gdstk.Reference(rectangle_d8e93c01, (6.66,-21.84)))
cdac4b.add(gdstk.Reference(rectangle_10b1ff6f, (-0.79,-3.455)))
cdac4b.add(gdstk.Reference(rectangle_579e3138, (-0.775,-3.475)))
cdac4b.add(gdstk.Reference(rectangle_9c38dde3, (-0.69,-3.39)))
cdac4b.add(gdstk.Reference(rectangle_fef19139, (-0.755,-3.455)))
cdac4b.add(gdstk.Reference(rectangle_10b1ff6f_1, (2.74,-3.455)))
cdac4b.add(gdstk.Reference(rectangle_579e3138_1, (2.755,-3.475)))
cdac4b.add(gdstk.Reference(rectangle_9c38dde3_1, (2.84,-3.39)))
cdac4b.add(gdstk.Reference(rectangle_fef19139_1, (2.775,-3.455)))
cdac4b.add(gdstk.Reference(rectangle_9983c23f, (6.27,-4.155)))
cdac4b.add(gdstk.Reference(rectangle_579e3138_2, (6.285,-4.175)))
cdac4b.add(gdstk.Reference(rectangle_9c38dde3_2, (6.37,-4.09)))
cdac4b.add(gdstk.Reference(rectangle_fef19139_2, (6.305,-4.155)))
cdac4b.add(gdstk.Reference(rectangle_9983c23f_1, (9.8,-4.155)))
cdac4b.add(gdstk.Reference(rectangle_579e3138_3, (9.815,-4.175)))
cdac4b.add(gdstk.Reference(rectangle_9c38dde3_3, (9.9,-4.09)))
cdac4b.add(gdstk.Reference(rectangle_fef19139_3, (9.835,-4.155)))
cdac4b.add(gdstk.Reference(rectangle_b9bef868, (-5.225,-3.44)))
cdac4b.add(gdstk.Reference(rectangle_579e3138_4, (-5.225,-3.475)))
cdac4b.add(gdstk.Reference(rectangle_9c38dde3_4, (-5.14,-3.39)))
cdac4b.add(gdstk.Reference(rectangle_fef19139_4, (-5.205,-3.455)))
cdac4b.add(gdstk.Reference(rectangle_f21ddb63, (-6.325,-4.14)))
cdac4b.add(gdstk.Reference(rectangle_579e3138_5, (-6.325,-4.175)))
cdac4b.add(gdstk.Reference(rectangle_9c38dde3_5, (-6.24,-4.09)))
cdac4b.add(gdstk.Reference(rectangle_fef19139_5, (-6.305,-4.155)))
cdac4b.add(gdstk.Reference(rectangle_67806b96, (-0.79,-10.035)))
cdac4b.add(gdstk.Reference(rectangle_579e3138_6, (-0.775,-10.055)))
cdac4b.add(gdstk.Reference(rectangle_9c38dde3_6, (-0.69,-9.97)))
cdac4b.add(gdstk.Reference(rectangle_fef19139_6, (-0.755,-10.035)))
cdac4b.add(gdstk.Reference(rectangle_9c38c842, (2.74,-9.335)))
cdac4b.add(gdstk.Reference(rectangle_579e3138_7, (2.755,-9.355)))
cdac4b.add(gdstk.Reference(rectangle_9c38dde3_7, (2.84,-9.27)))
cdac4b.add(gdstk.Reference(rectangle_fef19139_7, (2.775,-9.335)))
cdac4b.add(gdstk.Reference(rectangle_9983c23f_2, (6.27,-11.435)))
cdac4b.add(gdstk.Reference(rectangle_579e3138_8, (6.285,-11.455)))
cdac4b.add(gdstk.Reference(rectangle_9c38dde3_8, (6.37,-11.37)))
cdac4b.add(gdstk.Reference(rectangle_fef19139_8, (6.305,-11.435)))
cdac4b.add(gdstk.Reference(rectangle_9983c23f_3, (9.8,-11.435)))
cdac4b.add(gdstk.Reference(rectangle_579e3138_9, (9.815,-11.455)))
cdac4b.add(gdstk.Reference(rectangle_9c38dde3_9, (9.9,-11.37)))
cdac4b.add(gdstk.Reference(rectangle_fef19139_9, (9.835,-11.435)))
cdac4b.add(gdstk.Reference(rectangle_7cf3fad9, (-4.125,-10.02)))
cdac4b.add(gdstk.Reference(rectangle_579e3138_10, (-4.125,-10.055)))
cdac4b.add(gdstk.Reference(rectangle_9c38dde3_10, (-4.04,-9.97)))
cdac4b.add(gdstk.Reference(rectangle_fef19139_10, (-4.105,-10.035)))
cdac4b.add(gdstk.Reference(rectangle_b59f99c3, (-3.025,-9.32)))
cdac4b.add(gdstk.Reference(rectangle_579e3138_11, (-3.025,-9.355)))
cdac4b.add(gdstk.Reference(rectangle_9c38dde3_11, (-2.94,-9.27)))
cdac4b.add(gdstk.Reference(rectangle_fef19139_11, (-3.005,-9.335)))
cdac4b.add(gdstk.Reference(rectangle_f21ddb63_1, (-6.325,-11.42)))
cdac4b.add(gdstk.Reference(rectangle_579e3138_12, (-6.325,-11.455)))
cdac4b.add(gdstk.Reference(rectangle_9c38dde3_12, (-6.24,-11.37)))
cdac4b.add(gdstk.Reference(rectangle_fef19139_12, (-6.305,-11.435)))
cdac4b.add(gdstk.Reference(rectangle_9983c23f_4, (-0.79,-18.715)))
cdac4b.add(gdstk.Reference(rectangle_579e3138_13, (-0.775,-18.735)))
cdac4b.add(gdstk.Reference(rectangle_9c38dde3_13, (-0.69,-18.65)))
cdac4b.add(gdstk.Reference(rectangle_fef19139_13, (-0.755,-18.715)))
cdac4b.add(gdstk.Reference(rectangle_9983c23f_5, (2.74,-18.715)))
cdac4b.add(gdstk.Reference(rectangle_579e3138_14, (2.755,-18.735)))
cdac4b.add(gdstk.Reference(rectangle_9c38dde3_14, (2.84,-18.65)))
cdac4b.add(gdstk.Reference(rectangle_fef19139_14, (2.775,-18.715)))
cdac4b.add(gdstk.Reference(rectangle_0e086c3e, (6.27,-19.415)))
cdac4b.add(gdstk.Reference(rectangle_579e3138_15, (6.285,-19.435)))
cdac4b.add(gdstk.Reference(rectangle_9c38dde3_15, (6.37,-19.35)))
cdac4b.add(gdstk.Reference(rectangle_fef19139_15, (6.305,-19.415)))
cdac4b.add(gdstk.Reference(rectangle_67806b96_1, (9.8,-17.315)))
cdac4b.add(gdstk.Reference(rectangle_579e3138_16, (9.815,-17.335)))
cdac4b.add(gdstk.Reference(rectangle_9c38dde3_16, (9.9,-17.25)))
cdac4b.add(gdstk.Reference(rectangle_fef19139_16, (9.835,-17.315)))
cdac4b.add(gdstk.Reference(rectangle_ff503b3a, (-6.325,-18.7)))
cdac4b.add(gdstk.Reference(rectangle_579e3138_17, (-6.325,-18.735)))
cdac4b.add(gdstk.Reference(rectangle_9c38dde3_17, (-6.24,-18.65)))
cdac4b.add(gdstk.Reference(rectangle_fef19139_17, (-6.305,-18.715)))
cdac4b.add(gdstk.Reference(rectangle_a5df8f57, (-7.425,-19.4)))
cdac4b.add(gdstk.Reference(rectangle_579e3138_18, (-7.425,-19.435)))
cdac4b.add(gdstk.Reference(rectangle_9c38dde3_18, (-7.34,-19.35)))
cdac4b.add(gdstk.Reference(rectangle_fef19139_18, (-7.405,-19.415)))
cdac4b.add(gdstk.Reference(rectangle_068a5a5e, (-4.125,-17.3)))
cdac4b.add(gdstk.Reference(rectangle_579e3138_19, (-4.125,-17.335)))
cdac4b.add(gdstk.Reference(rectangle_9c38dde3_19, (-4.04,-17.25)))
cdac4b.add(gdstk.Reference(rectangle_fef19139_19, (-4.105,-17.315)))
cdac4b.add(gdstk.Reference(rectangle_9983c23f_6, (-0.79,-25.995)))
cdac4b.add(gdstk.Reference(rectangle_579e3138_20, (-0.775,-26.015)))
cdac4b.add(gdstk.Reference(rectangle_9c38dde3_20, (-0.69,-25.93)))
cdac4b.add(gdstk.Reference(rectangle_fef19139_20, (-0.755,-25.995)))
cdac4b.add(gdstk.Reference(rectangle_9983c23f_7, (2.74,-25.995)))
cdac4b.add(gdstk.Reference(rectangle_579e3138_21, (2.755,-26.015)))
cdac4b.add(gdstk.Reference(rectangle_9c38dde3_21, (2.84,-25.93)))
cdac4b.add(gdstk.Reference(rectangle_fef19139_21, (2.775,-25.995)))
cdac4b.add(gdstk.Reference(rectangle_10b1ff6f_2, (6.27,-25.295)))
cdac4b.add(gdstk.Reference(rectangle_579e3138_22, (6.285,-25.315)))
cdac4b.add(gdstk.Reference(rectangle_9c38dde3_22, (6.37,-25.23)))
cdac4b.add(gdstk.Reference(rectangle_fef19139_22, (6.305,-25.295)))
cdac4b.add(gdstk.Reference(rectangle_10b1ff6f_3, (9.8,-25.295)))
cdac4b.add(gdstk.Reference(rectangle_579e3138_23, (9.815,-25.315)))
cdac4b.add(gdstk.Reference(rectangle_9c38dde3_23, (9.9,-25.23)))
cdac4b.add(gdstk.Reference(rectangle_fef19139_23, (9.835,-25.295)))
cdac4b.add(gdstk.Reference(rectangle_ff503b3a_1, (-6.325,-25.98)))
cdac4b.add(gdstk.Reference(rectangle_579e3138_24, (-6.325,-26.015)))
cdac4b.add(gdstk.Reference(rectangle_9c38dde3_24, (-6.24,-25.93)))
cdac4b.add(gdstk.Reference(rectangle_fef19139_24, (-6.305,-25.995)))
cdac4b.add(gdstk.Reference(rectangle_560a4f5d, (-5.225,-25.28)))
cdac4b.add(gdstk.Reference(rectangle_579e3138_25, (-5.225,-25.315)))
cdac4b.add(gdstk.Reference(rectangle_9c38dde3_25, (-5.14,-25.23)))
cdac4b.add(gdstk.Reference(rectangle_fef19139_25, (-5.205,-25.295)))
cdac4b.add(gdstk.Reference(rectangle_e46d449f, (-5.29,-25.295)))
cdac4b.add(gdstk.Reference(rectangle_3f075ad0, (-5.29,0.59)))
cdac4b.add(gdstk.Reference(rectangle_1c83db0e, (-6.39,-25.995)))
cdac4b.add(gdstk.Reference(rectangle_3f075ad0_1, (-6.39,0.59)))
cdac4b.add(gdstk.Reference(rectangle_a20d28ec, (-4.19,-17.315)))
cdac4b.add(gdstk.Reference(rectangle_3f075ad0_2, (-4.19,0.59)))
cdac4b.add(gdstk.Reference(rectangle_f89a7715, (-3.09,-9.335)))
cdac4b.add(gdstk.Reference(rectangle_3f075ad0_3, (-3.09,0.59)))
cdac4b.add(gdstk.Reference(rectangle_7571271f, (-7.49,-19.415)))
cdac4b.add(gdstk.Reference(rectangle_3f075ad0_4, (-7.49,0.59)))
cdac4b.add(gdstk.Reference(rectangle_ecd82131, (6.76,-0.3)))
cdac4b.add(gdstk.Label('b2', (-5.04,0.84), layer=70, texttype=5))
cdac4b.add(gdstk.Label('b3', (-6.14,0.84), layer=70, texttype=5))
cdac4b.add(gdstk.Label('b1', (-3.94,0.84), layer=70, texttype=5))
cdac4b.add(gdstk.Label('b0', (-2.84,0.84), layer=70, texttype=5))
cdac4b.add(gdstk.Label('bd', (-7.24,0.84), layer=70, texttype=5))
cdac4b.add(gdstk.Label('top', (7.06,0), layer=71, texttype=5))

lib.write_gds('cdac4b.gds')
